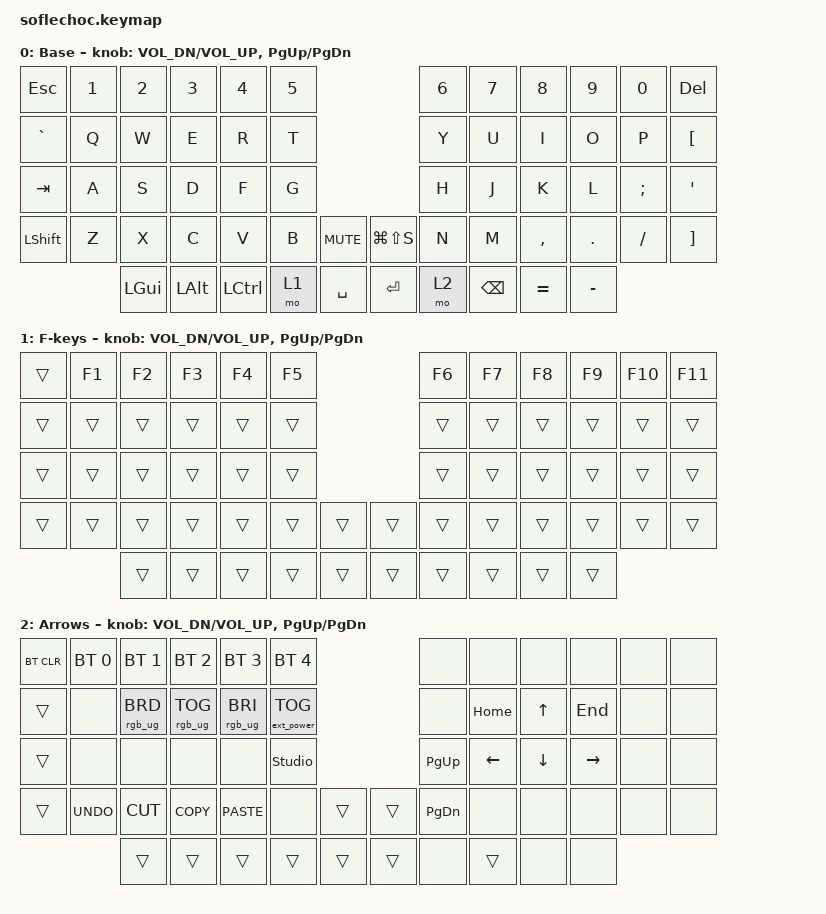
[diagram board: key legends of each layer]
/*
 * Sofle Choc (PandaKB, nice!nano nRF52840) keymap
 * - 2 rotary encoders, RGB underglow, SSD1306 OLEDs on both halves
 * - editable live via ZMK Studio
 * - ported from the firmware-build branch (config/sofle.keymap); the unused
 *   <dt-bindings/zmk/power_save.h> include was dropped: it does not exist in
 *   current ZMK main and no binding uses it
 */

#include <behaviors.dtsi>
#include <dt-bindings/zmk/bt.h>
#include <dt-bindings/zmk/ext_power.h>
#include <dt-bindings/zmk/keys.h>
#include <dt-bindings/zmk/rgb.h>

/ {
    /*
     * Combos ported from FenXStar/Sofle_RGB_ZMK config/sofle.keymap: the
     * 60-key matrix numbering is identical to this keymap (row0=0-11 ...
     * row3=36-49, thumbs=50-59), so every pair below was verified 1:1
     * against the bindings above. Combos are layer-independent in ZMK:
     * e.g. F+G yields "(" even while LOWER (F-keys) is held.
     */
    combos {
        compatible = "zmk,combos";

        // Characters
        br1 {
            bindings = <&kp LEFT_BRACE>;
            key-positions = <16 17>; // R+T
        };

        br2 {
            bindings = <&kp RIGHT_BRACE>;
            key-positions = <18 19>; // Y+U
        };

        br3 {
            bindings = <&kp LEFT_PARENTHESIS>;
            key-positions = <28 29>; // F+G
        };

        br4 {
            bindings = <&kp RIGHT_PARENTHESIS>;
            key-positions = <30 31>; // H+J
        };

        br5 {
            bindings = <&kp LEFT_BRACKET>;
            key-positions = <40 41>; // V+B
        };

        br6 {
            bindings = <&kp RIGHT_BRACKET>;
            key-positions = <44 45>; // N+M
        };

        bs {
            bindings = <&kp NON_US_BACKSLASH>;
            key-positions = <22 23>; // P+[
        };

        bs1 {
            bindings = <&kp PIPE>;
            key-positions = <34 35>; // ;+'
        };

        sl {
            bindings = <&kp SLASH>;
            key-positions = <48 49>; // /+]
        };

        cps {
            bindings = <&kp CAPS>;
            key-positions = <24 25>; // TAB+A
        };

        // Math / operators
        su {
            bindings = <&kp UNDERSCORE>;
            key-positions = <15 16>; // E+R
        };

        su1 {
            bindings = <&kp EQUAL>;
            key-positions = <19 20>; // U+I
        };

        min {
            bindings = <&kp MINUS>;
            key-positions = <27 28>; // D+F
        };

        pl {
            bindings = <&kp PLUS>;
            key-positions = <31 32>; // J+K
        };

        or {
            bindings = <&kp PIPE>;
            key-positions = <39 40>; // C+V
        };

        and {
            bindings = <&kp AMPERSAND>;
            key-positions = <45 46>; // M+,
        };
    };

    keymap {
        compatible = "zmk,keymap";

        base {
            display-name = "Base";

            // ------------------------------------------------------------------------------------------------------------
            // |  `    |  1  |  2  |  3   |  4   |  5   |                         |  6   |  7    |  8    |  9   |   0   |       |
            // |  ESC  |  Q  |  W  |  E   |  R   |  T   |                         |  Y   |  U    |  I    |  O   |   P   | BKSPC |
            // |  TAB  |  A  |  S  |  D   |  F   |  G   |                         |  H   |  J    |  K    |  L   |   ;   |   '   |
            // | SHIFT |  Z  |  X  |  C   |  V   |  B   |  MUTE  |        | ExtPw |  N   |  M    |  ,    |  .   |   /   | SHIFT |
            //               | GUI | ALT  | CTRL | LOWER|  ENTER |        | SPACE | RAISE| CTRL  | ALT   | GUI  |

            bindings = <
&kp ESCAPE  &kp N1  &kp N2    &kp N3    &kp N4     &kp N5                               &kp N6  &kp N7         &kp N8     &kp N9     &kp N0    &kp DELETE
&kp GRAVE   &kp Q   &kp W     &kp E     &kp R      &kp T                                &kp Y   &kp U          &kp I      &kp O      &kp P     &kp LEFT_BRACKET
&kp TAB     &kp A   &kp S     &kp D     &kp F      &kp G                                &kp H   &kp J          &kp K      &kp L      &kp SEMI  &kp SQT
&kp LSHFT   &kp Z   &kp X     &kp C     &kp V      &kp B   &kp C_MUTE    &kp LG(LS(S))  &kp N   &kp M          &kp COMMA  &kp DOT    &kp FSLH  &kp RIGHT_BRACKET
                    &kp LGUI  &kp LALT  &kp LCTRL  &mo 1   &kp SPACE     &kp RET        &mo 2   &kp BACKSPACE  &kp EQUAL  &kp MINUS
            >;

            // left encoder: volume (reversed: CW = down); right: page scroll
            sensor-bindings =
                <&inc_dec_kp C_VOL_DN C_VOL_UP>,
                <&inc_dec_kp PG_UP PG_DN>;
        };

        lower_layer {
            display-name = "F-keys";

            // ------------------------------------------------------------------------------------------------------------
            // |       |  F1 |  F2 |  F3  |  F4  |  F5  |                   |  F6  |  F7   |  F8   |  F9  |  F10  |  F11  |
            // | `     |   1 |   2 |   3  |   4  |   5  |                   |   6  |   7   |   8   |   9  |    0  |  F12  |
            // |       |  !  |  @  |  #   |  $   |  %   |                   |  ^   |  &    |  *    |  (   |   )   |   |   |
            // |       |  =  |  -  |  +   |  {   |  }   |        |  |       |  [   |  ]    |  ;    |  :   |   \   |       |

            bindings = <
&trans  &kp F1  &kp F2  &kp F3  &kp F4  &kp F5                    &kp F6  &kp F7  &kp F8  &kp F9  &kp F10  &kp F11
&trans  &trans  &trans  &trans  &trans  &trans                    &trans  &trans  &trans  &trans  &trans   &trans
&trans  &trans  &trans  &trans  &trans  &trans                    &trans  &trans  &trans  &trans  &trans   &trans
&trans  &trans  &trans  &trans  &trans  &trans  &trans    &trans  &trans  &trans  &trans  &trans  &trans   &trans
                &trans  &trans  &trans  &trans  &trans    &trans  &trans  &trans  &trans  &trans
            >;

            sensor-bindings = <&inc_dec_kp C_VOL_DN C_VOL_UP>, <&inc_dec_kp PG_UP PG_DN>;
        };

        raise_layer {
            display-name = "Arrows";

            // ------------------------------------------------------------------------------------------------------------
            // |BTCLR| BT1  | BT2  |  BT3  |  BT4  |  BT5 |                |RGB EF|RGB TG |RGB MD |RGB+  |RGB-   |PSLEEP |
            // |     | INS  | PSCR | GUI   |       |      |                |      |       |   ^   |      |       |       |
            // |     | ALT  | CTRL | SHIFT |       | CAPS |                |      |   <-  |   v   |  ->  |  DEL  | BKSPC |
            // |     | UNDO | CUT  | COPY  | PASTE |      |      |  |      |      |       |       |      |       |       |

            bindings = <
&bt BT_CLR  &bt BT_SEL 0  &bt BT_SEL 1     &bt BT_SEL 2     &bt BT_SEL 3     &bt BT_SEL 4                         &none          &none     &none     &none      &none  &none
&trans      &none         &rgb_ug RGB_BRD  &rgb_ug RGB_TOG  &rgb_ug RGB_BRI  &ext_power EP_TOG                    &none          &kp HOME  &kp UP    &kp END    &none  &none
&trans      &none         &none            &none            &none            &studio_unlock                       &kp PG_UP      &kp LEFT  &kp DOWN  &kp RIGHT  &none  &none
&trans      &kp K_UNDO    &kp K_CUT        &kp K_COPY       &kp K_PASTE      &none              &trans    &trans  &kp PAGE_DOWN  &none     &none     &none      &none  &none
                          &trans           &trans           &trans           &trans             &trans    &trans  &none          &trans    &none     &none
            >;

            sensor-bindings = <&inc_dec_kp C_VOL_DN C_VOL_UP>, <&inc_dec_kp PG_UP PG_DN>;
        };
    };
};
